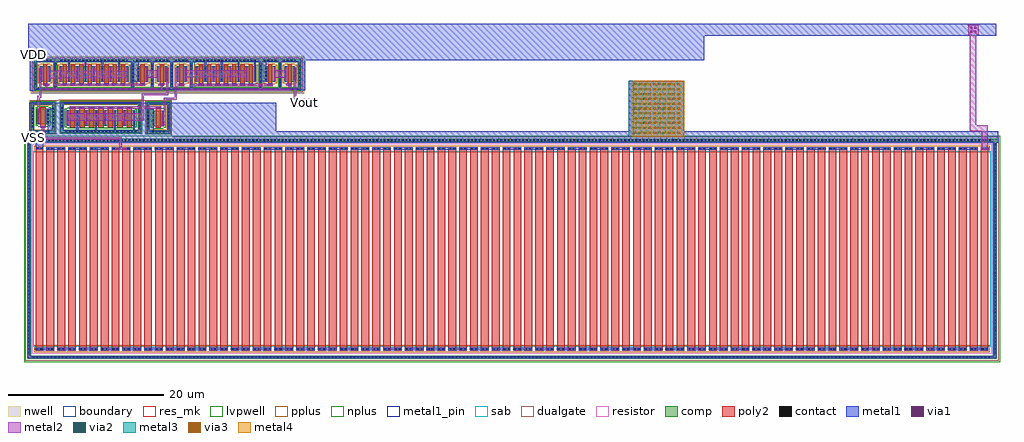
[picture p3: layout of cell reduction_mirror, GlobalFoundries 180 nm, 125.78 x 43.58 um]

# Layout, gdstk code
import gdstk
lib = gdstk.Library(unit=1e-6, precision=1e-09)
def R(c, l, rs):  # rectangles x0, y0, x1, y1
    for r in rs: c.add(gdstk.rectangle(r[:2], r[2:], *l))
def A(c, l, x, y, w, h, nx, ny, dx, dy):  # array of equal rectangles
    R(c, l, [(x+i*dx, y+j*dy, x+i*dx+w, y+j*dy+h) for i in range(nx) for j in range(ny)])
boundary = (0, 0)
nwell = (21, 0)
comp = (22, 0)
poly2 = (30, 0)
pplus = (31, 0)
nplus = (32, 0)
contact = (33, 0)
metal1 = (34, 0)
metal1_pin = (34, 10)
via1 = (35, 0)
metal2 = (36, 0)
via2 = (38, 0)
via3 = (40, 0)
metal3 = (42, 0)
metal4 = (46, 0)
sab = (49, 0)
dualgate = (55, 0)
resistor = (62, 0)
res_mk = (110, 5)
lvpwell = (204, 0)

nmos_6p0_bjxxpt = lib.new_cell('nmos_6p0_BJXXPT')
R(nmos_6p0_bjxxpt, boundary, [(-4.99,-1.82,4.99,1.82)])
R(nmos_6p0_bjxxpt, comp, [(-5.17,-2,5.17,-1.64), (-5.17,-1.64,-4.81,1.64), (4.81,-1.64,5.17,1.64), (-4.45,-1.12,4.45,0.88), (-5.17,1.64,5.17,2)])
A(nmos_6p0_bjxxpt, poly2, -4.01, -1.34, 0.7, 2.68, 7, 1, 1.22, 0)
R(nmos_6p0_bjxxpt, pplus, [(-5.2,-2.03,5.2,-1.61), (-5.2,-1.61,-4.78,1.61), (4.78,-1.61,5.2,1.61), (-5.2,1.61,5.2,2.03)])
R(nmos_6p0_bjxxpt, nplus, [(-4.31,-1.42,4.31,-1.3), (-4.63,-1.3,4.63,1.06), (-4.31,1.06,4.31,1.18)])
A(nmos_6p0_bjxxpt, contact, -4.575, -1.93, 0.22, 0.22, 20, 1, 0.47, 0)
A(nmos_6p0_bjxxpt, contact, -5.1, -1.285, 0.22, 0.22, 1, 6, 0, 0.47)
A(nmos_6p0_bjxxpt, contact, 4.88, -1.285, 0.22, 0.22, 1, 6, 0, 0.47)
A(nmos_6p0_bjxxpt, contact, -4.38, -0.935, 0.22, 0.22, 8, 4, 1.22, 0.47)
A(nmos_6p0_bjxxpt, contact, -3.77, 1.05, 0.22, 0.22, 7, 1, 1.22, 0)
A(nmos_6p0_bjxxpt, metal1, -4.385, -1.11, 0.23, 1.98, 8, 1, 1.22, 0)
A(nmos_6p0_bjxxpt, metal1, -4, 1.045, 0.68, 0.23, 7, 1, 1.22, 0)
R(nmos_6p0_bjxxpt, metal1, [(-5.105,-1.935,5.105,-1.705), (-5.105,-1.705,-4.875,1.705), (4.875,-1.705,5.105,1.705), (-5.105,1.705,5.105,1.935)])
R(nmos_6p0_bjxxpt, dualgate, [(-5.41,-2.24,5.41,2.24)])
R(nmos_6p0_bjxxpt, lvpwell, [(-5.33,-2.16,5.33,2.16)])

nmos_6p0_b4tb5u = lib.new_cell('nmos_6p0_B4TB5U')
R(nmos_6p0_b4tb5u, boundary, [(-1.33,-1.82,1.33,1.82)])
R(nmos_6p0_b4tb5u, comp, [(-1.51,-2,1.51,-1.64), (-1.51,-1.64,-1.15,1.64), (1.15,-1.64,1.51,1.64), (-0.79,-0.88,0.79,1.12), (-1.51,1.64,1.51,2)])
R(nmos_6p0_b4tb5u, poly2, [(-0.35,-1.34,0.35,1.34)])
R(nmos_6p0_b4tb5u, pplus, [(-1.54,-2.03,1.54,-1.61), (-1.54,-1.61,-1.12,1.61), (1.12,-1.61,1.54,1.61), (-1.54,1.61,1.54,2.03)])
R(nmos_6p0_b4tb5u, nplus, [(-0.65,-1.18,0.65,-1.06), (-0.97,-1.06,0.97,1.3), (-0.65,1.3,0.65,1.42)])
A(nmos_6p0_b4tb5u, contact, -0.815, -1.93, 0.22, 0.22, 4, 1, 0.47, 0)
A(nmos_6p0_b4tb5u, contact, -1.44, -1.285, 0.22, 0.22, 1, 6, 0, 0.47)
A(nmos_6p0_b4tb5u, contact, 1.22, -1.285, 0.22, 0.22, 1, 6, 0, 0.47)
A(nmos_6p0_b4tb5u, contact, -0.72, -0.695, 0.22, 0.22, 1, 4, 0, 0.47)
A(nmos_6p0_b4tb5u, contact, 0.5, -0.695, 0.22, 0.22, 1, 4, 0, 0.47)
R(nmos_6p0_b4tb5u, contact, [(-0.11,-1.27,0.11,-1.05)])
R(nmos_6p0_b4tb5u, metal1, [(-1.445,-1.935,1.445,-1.705), (-1.445,-1.705,-1.215,1.705), (1.215,-1.705,1.445,1.705), (-0.34,-1.275,0.34,-1.045), (-0.725,-0.87,-0.495,1.11), (0.495,-0.87,0.725,1.11), (-1.445,1.705,1.445,1.935)])
R(nmos_6p0_b4tb5u, dualgate, [(-1.75,-2.24,1.75,2.24)])
R(nmos_6p0_b4tb5u, lvpwell, [(-1.67,-2.16,1.67,2.16)])

nmos_6p0_bjpb5u = lib.new_cell('nmos_6p0_BJPB5U')
R(nmos_6p0_bjpb5u, boundary, [(-1.33,-1.82,1.33,1.82)])
R(nmos_6p0_bjpb5u, comp, [(-1.51,-2,1.51,-1.64), (-1.51,-1.64,-1.15,1.64), (1.15,-1.64,1.51,1.64), (-0.79,-1.12,0.79,0.88), (-1.51,1.64,1.51,2)])
R(nmos_6p0_bjpb5u, poly2, [(-0.35,-1.34,0.35,1.34)])
R(nmos_6p0_bjpb5u, pplus, [(-1.54,-2.03,1.54,-1.61), (-1.54,-1.61,-1.12,1.61), (1.12,-1.61,1.54,1.61), (-1.54,1.61,1.54,2.03)])
R(nmos_6p0_bjpb5u, nplus, [(-0.65,-1.42,0.65,-1.3), (-0.97,-1.3,0.97,1.06), (-0.65,1.06,0.65,1.18)])
A(nmos_6p0_bjpb5u, contact, -0.815, -1.93, 0.22, 0.22, 4, 1, 0.47, 0)
A(nmos_6p0_bjpb5u, contact, -1.44, -1.285, 0.22, 0.22, 1, 6, 0, 0.47)
A(nmos_6p0_bjpb5u, contact, 1.22, -1.285, 0.22, 0.22, 1, 6, 0, 0.47)
A(nmos_6p0_bjpb5u, contact, -0.72, -0.935, 0.22, 0.22, 1, 4, 0, 0.47)
A(nmos_6p0_bjpb5u, contact, 0.5, -0.935, 0.22, 0.22, 1, 4, 0, 0.47)
R(nmos_6p0_bjpb5u, contact, [(-0.11,1.05,0.11,1.27)])
R(nmos_6p0_bjpb5u, metal1, [(-1.445,-1.935,1.445,-1.705), (-1.445,-1.705,-1.215,1.705), (1.215,-1.705,1.445,1.705), (-0.725,-1.11,-0.495,0.87), (0.495,-1.11,0.725,0.87), (-0.34,1.045,0.34,1.275), (-1.445,1.705,1.445,1.935)])
R(nmos_6p0_bjpb5u, dualgate, [(-1.75,-2.24,1.75,2.24)])
R(nmos_6p0_bjpb5u, lvpwell, [(-1.67,-2.16,1.67,2.16)])

via_cont_0p6um = lib.new_cell('via_cont_0p6um')
R(via_cont_0p6um, metal1, [(-0.205,-1.06,0.485,-0.8)])
R(via_cont_0p6um, via1, [(0.01,-1.06,0.27,-0.8)])
R(via_cont_0p6um, metal2, [(-0.215,-1.07,0.495,-0.79)])

via_cont_2um = lib.new_cell('via_cont_2um')
R(via_cont_2um, metal1, [(-0.45,-0.495,-0.19,1.2)])
A(via_cont_2um, via1, -0.45, -0.3, 0.26, 0.26, 1, 3, 0, 0.52)
R(via_cont_2um, metal2, [(-0.46,-0.495,-0.18,1.195)])

pmos_6p0_cyeqn4 = lib.new_cell('pmos_6p0_CYEQN4')
R(pmos_6p0_cyeqn4, boundary, [(-1.23,-1.82,1.23,1.82)])
R(pmos_6p0_cyeqn4, nwell, [(-1.84,-2.43,1.89,2.43)])
R(pmos_6p0_cyeqn4, comp, [(-1.41,-2,1.46,-1.64), (-1.41,-1.64,-1.05,1.64), (1.1,-1.64,1.46,1.64), (-0.69,-0.88,0.74,1.12), (-1.41,1.64,1.46,2)])
R(pmos_6p0_cyeqn4, poly2, [(-0.25,-1.34,0.3,1.34)])
R(pmos_6p0_cyeqn4, pplus, [(-0.55,-1.18,0.6,-1.06), (-0.87,-1.06,0.92,1.3), (-0.55,1.3,0.6,1.42)])
R(pmos_6p0_cyeqn4, nplus, [(-1.44,-2.03,1.49,-1.61), (-1.44,-1.61,-1.02,1.61), (1.07,-1.61,1.49,1.61), (-1.44,1.61,1.49,2.03)])
A(pmos_6p0_cyeqn4, contact, -1.34, -1.285, 0.22, 0.22, 1, 6, 0, 0.47)
A(pmos_6p0_cyeqn4, contact, 1.17, -1.285, 0.22, 0.22, 1, 6, 0, 0.47)
A(pmos_6p0_cyeqn4, contact, -0.62, -0.695, 0.22, 0.22, 1, 4, 0, 0.47)
A(pmos_6p0_cyeqn4, contact, 0.45, -0.695, 0.22, 0.22, 1, 4, 0, 0.47)
A(pmos_6p0_cyeqn4, contact, -0.815, 1.71, 0.22, 0.22, 4, 1, 0.47, 0)
R(pmos_6p0_cyeqn4, contact, [(-0.085,-1.27,0.135,-1.05)])
R(pmos_6p0_cyeqn4, metal1, [(-1.345,-1.935,1.395,-1.705), (-1.345,-1.705,-1.115,1.705), (1.165,-1.705,1.395,1.705), (-0.24,-1.275,0.29,-1.045), (-0.625,-0.87,-0.395,1.11), (0.445,-0.87,0.675,1.11), (-1.345,1.705,1.395,1.935)])
R(pmos_6p0_cyeqn4, dualgate, [(-1.65,-2.24,1.7,2.24)])

pmos_6p0_hueqqm = lib.new_cell('pmos_6p0_HUEQQM')
R(pmos_6p0_hueqqm, boundary, [(-4.8,-1.82,4.8,1.82)])
R(pmos_6p0_hueqqm, nwell, [(-5.64,-2.43,5.605,2.43)])
R(pmos_6p0_hueqqm, comp, [(-5.21,-2,5.175,-1.64), (-5.21,-1.64,-4.85,1.64), (4.815,-1.64,5.175,1.64), (-4.49,-0.88,4.455,1.12), (-5.21,1.64,5.175,2)])
A(pmos_6p0_hueqqm, poly2, -4.05, -1.34, 0.55, 2.68, 4, 1, 1.07, 0)
A(pmos_6p0_hueqqm, poly2, 0.255, -1.34, 0.55, 2.68, 4, 1, 1.07, 0)
R(pmos_6p0_hueqqm, pplus, [(-4.35,-1.18,4.315,-1.06), (-4.67,-1.06,4.635,1.3), (-4.35,1.3,4.315,1.42)])
R(pmos_6p0_hueqqm, nplus, [(-5.24,-2.03,5.205,-1.61), (-5.24,-1.61,-4.82,1.61), (4.785,-1.61,5.205,1.61), (-5.24,1.61,5.205,2.03)])
A(pmos_6p0_hueqqm, contact, -5.14, -1.285, 0.22, 0.22, 1, 6, 0, 0.47)
A(pmos_6p0_hueqqm, contact, 4.885, -1.285, 0.22, 0.22, 1, 6, 0, 0.47)
A(pmos_6p0_hueqqm, contact, -3.885, -1.27, 0.22, 0.22, 4, 1, 1.07, 0)
A(pmos_6p0_hueqqm, contact, 0.42, -1.27, 0.22, 0.22, 4, 1, 1.07, 0)
A(pmos_6p0_hueqqm, contact, -4.42, -0.695, 0.22, 0.22, 5, 4, 1.07, 0.47)
A(pmos_6p0_hueqqm, contact, 0.955, -0.695, 0.22, 0.22, 4, 4, 1.07, 0.47)
A(pmos_6p0_hueqqm, contact, -4.34, 1.71, 0.22, 0.22, 19, 1, 0.47, 0)
A(pmos_6p0_hueqqm, metal1, -4.04, -1.275, 0.53, 0.23, 4, 1, 1.07, 0)
A(pmos_6p0_hueqqm, metal1, 0.265, -1.275, 0.53, 0.23, 4, 1, 1.07, 0)
A(pmos_6p0_hueqqm, metal1, -4.425, -0.87, 0.23, 1.98, 5, 1, 1.07, 0)
A(pmos_6p0_hueqqm, metal1, 0.95, -0.87, 0.23, 1.98, 4, 1, 1.07, 0)
R(pmos_6p0_hueqqm, metal1, [(-5.145,-1.935,5.11,-1.705), (-5.145,-1.705,-4.915,1.705), (4.88,-1.705,5.11,1.705), (-5.145,1.705,5.11,1.935)])
R(pmos_6p0_hueqqm, dualgate, [(-5.45,-2.24,5.415,2.24)])

pmos_6p0_eyeqqm = lib.new_cell('pmos_6p0_EYEQQM')
R(pmos_6p0_eyeqqm, boundary, [(-4.29,-1.82,4.29,1.82)])
R(pmos_6p0_eyeqqm, nwell, [(-5.25,-2.43,4.9,2.43)])
R(pmos_6p0_eyeqqm, comp, [(-4.82,-2,4.47,-1.64), (-4.82,-1.64,-4.46,1.64), (4.11,-1.64,4.47,1.64), (-4.1,-0.88,3.75,1.12), (-4.82,1.64,4.47,2)])
A(pmos_6p0_eyeqqm, poly2, -3.66, -1.34, 0.55, 2.68, 7, 1, 1.07, 0)
R(pmos_6p0_eyeqqm, pplus, [(-3.96,-1.18,3.61,-1.06), (-4.28,-1.06,3.93,1.3), (-3.96,1.3,3.61,1.42)])
R(pmos_6p0_eyeqqm, nplus, [(-4.85,-2.03,4.5,-1.61), (-4.85,-1.61,-4.43,1.61), (4.08,-1.61,4.5,1.61), (-4.85,1.61,4.5,2.03)])
A(pmos_6p0_eyeqqm, contact, -4.75, -1.285, 0.22, 0.22, 1, 6, 0, 0.47)
A(pmos_6p0_eyeqqm, contact, 4.18, -1.285, 0.22, 0.22, 1, 6, 0, 0.47)
A(pmos_6p0_eyeqqm, contact, -3.495, -1.27, 0.22, 0.22, 7, 1, 1.07, 0)
A(pmos_6p0_eyeqqm, contact, -4.03, -0.695, 0.22, 0.22, 8, 4, 1.07, 0.47)
A(pmos_6p0_eyeqqm, contact, -4.045, 1.71, 0.22, 0.22, 17, 1, 0.47, 0)
A(pmos_6p0_eyeqqm, metal1, -3.65, -1.275, 0.53, 0.23, 7, 1, 1.07, 0)
A(pmos_6p0_eyeqqm, metal1, -4.035, -0.87, 0.23, 1.98, 8, 1, 1.07, 0)
R(pmos_6p0_eyeqqm, metal1, [(-4.755,-1.935,4.405,-1.705), (-4.755,-1.705,-4.525,1.705), (4.175,-1.705,4.405,1.705), (-4.755,1.705,4.405,1.935)])
R(pmos_6p0_eyeqqm, dualgate, [(-5.06,-2.24,4.71,2.24)])

ppolyf_u_1k_6p0_trtt7c = lib.new_cell('ppolyf_u_1k_6p0_TRTT7C')
R(ppolyf_u_1k_6p0_trtt7c, boundary, [(-62.02,-13.92,62.02,13.92)])
R(ppolyf_u_1k_6p0_trtt7c, comp, [(-62.46,-14.17,62.46,-13.81), (-62.46,-13.81,-62.1,13.81), (62.1,-13.81,62.46,13.81), (-62.46,13.81,62.46,14.17)])
A(ppolyf_u_1k_6p0_trtt7c, poly2, -61.4, -13.11, 1, 26.22, 88, 1, 1.4, 0)
R(ppolyf_u_1k_6p0_trtt7c, pplus, [(-62.49,-14.2,62.49,-13.78), (-62.49,-13.78,-62.07,13.78), (62.07,-13.78,62.49,13.78), (-61.6,-13.31,61.6,-12.5), (-61.6,12.5,61.6,13.31), (-62.49,13.78,62.49,14.2)])
A(ppolyf_u_1k_6p0_trtt7c, contact, -61.79, -14.1, 0.22, 0.22, 263, 1, 0.47, 0)
A(ppolyf_u_1k_6p0_trtt7c, contact, -62.39, -13.505, 0.22, 0.22, 1, 58, 0, 0.47)
A(ppolyf_u_1k_6p0_trtt7c, contact, 62.17, -13.505, 0.22, 0.22, 1, 58, 0, 0.47)
A(ppolyf_u_1k_6p0_trtt7c, contact, -61.655, 13.88, 0.22, 0.22, 263, 1, 0.47, 0)
R(ppolyf_u_1k_6p0_trtt7c, contact, [(-61.245,-13.04,-61.025,-12.82), (-60.775,-13.04,-60.555,-12.82), (-59.845,-13.04,-59.625,-12.82), (-59.375,-13.04,-59.155,-12.82), (-58.445,-13.04,-58.225,-12.82), (-57.975,-13.04,-57.755,-12.82), (-57.045,-13.04,-56.825,-12.82), (-56.575,-13.04,-56.355,-12.82), (-55.645,-13.04,-55.425,-12.82), (-55.175,-13.04,-54.955,-12.82), (-54.245,-13.04,-54.025,-12.82), (-53.775,-13.04,-53.555,-12.82), (-52.845,-13.04,-52.625,-12.82), (-52.375,-13.04,-52.155,-12.82), (-51.445,-13.04,-51.225,-12.82), (-50.975,-13.04,-50.755,-12.82), (-50.045,-13.04,-49.825,-12.82), (-49.575,-13.04,-49.355,-12.82), (-48.645,-13.04,-48.425,-12.82), (-48.175,-13.04,-47.955,-12.82), (-47.245,-13.04,-47.025,-12.82), (-46.775,-13.04,-46.555,-12.82), (-45.845,-13.04,-45.625,-12.82), (-45.375,-13.04,-45.155,-12.82), (-44.445,-13.04,-44.225,-12.82), (-43.975,-13.04,-43.755,-12.82), (-43.045,-13.04,-42.825,-12.82), (-42.575,-13.04,-42.355,-12.82), (-41.645,-13.04,-41.425,-12.82), (-41.175,-13.04,-40.955,-12.82), (-40.245,-13.04,-40.025,-12.82), (-39.775,-13.04,-39.555,-12.82), (-38.845,-13.04,-38.625,-12.82), (-38.375,-13.04,-38.155,-12.82), (-37.445,-13.04,-37.225,-12.82), (-36.975,-13.04,-36.755,-12.82), (-36.045,-13.04,-35.825,-12.82), (-35.575,-13.04,-35.355,-12.82), (-34.645,-13.04,-34.425,-12.82), (-34.175,-13.04,-33.955,-12.82), (-33.245,-13.04,-33.025,-12.82), (-32.775,-13.04,-32.555,-12.82), (-31.845,-13.04,-31.625,-12.82), (-31.375,-13.04,-31.155,-12.82), (-30.445,-13.04,-30.225,-12.82), (-29.975,-13.04,-29.755,-12.82), (-29.045,-13.04,-28.825,-12.82), (-28.575,-13.04,-28.355,-12.82), (-27.645,-13.04,-27.425,-12.82), (-27.175,-13.04,-26.955,-12.82), (-26.245,-13.04,-26.025,-12.82), (-25.775,-13.04,-25.555,-12.82), (-24.845,-13.04,-24.625,-12.82), (-24.375,-13.04,-24.155,-12.82), (-23.445,-13.04,-23.225,-12.82), (-22.975,-13.04,-22.755,-12.82), (-22.045,-13.04,-21.825,-12.82), (-21.575,-13.04,-21.355,-12.82), (-20.645,-13.04,-20.425,-12.82), (-20.175,-13.04,-19.955,-12.82), (-19.245,-13.04,-19.025,-12.82), (-18.775,-13.04,-18.555,-12.82), (-17.845,-13.04,-17.625,-12.82), (-17.375,-13.04,-17.155,-12.82), (-16.445,-13.04,-16.225,-12.82), (-15.975,-13.04,-15.755,-12.82), (-15.045,-13.04,-14.825,-12.82), (-14.575,-13.04,-14.355,-12.82), (-13.645,-13.04,-13.425,-12.82), (-13.175,-13.04,-12.955,-12.82), (-12.245,-13.04,-12.025,-12.82), (-11.775,-13.04,-11.555,-12.82), (-10.845,-13.04,-10.625,-12.82), (-10.375,-13.04,-10.155,-12.82), (-9.445,-13.04,-9.225,-12.82), (-8.975,-13.04,-8.755,-12.82), (-8.045,-13.04,-7.825,-12.82), (-7.575,-13.04,-7.355,-12.82), (-6.645,-13.04,-6.425,-12.82), (-6.175,-13.04,-5.955,-12.82), (-5.245,-13.04,-5.025,-12.82), (-4.775,-13.04,-4.555,-12.82), (-3.845,-13.04,-3.625,-12.82), (-3.375,-13.04,-3.155,-12.82), (-2.445,-13.04,-2.225,-12.82), (-1.975,-13.04,-1.755,-12.82), (-1.045,-13.04,-0.825,-12.82), (-0.575,-13.04,-0.355,-12.82), (0.355,-13.04,0.575,-12.82), (0.825,-13.04,1.045,-12.82), (1.755,-13.04,1.975,-12.82), (2.225,-13.04,2.445,-12.82), (3.155,-13.04,3.375,-12.82), (3.625,-13.04,3.845,-12.82), (4.555,-13.04,4.775,-12.82), (5.025,-13.04,5.245,-12.82), (5.955,-13.04,6.175,-12.82), (6.425,-13.04,6.645,-12.82), (7.355,-13.04,7.575,-12.82), (7.825,-13.04,8.045,-12.82), (8.755,-13.04,8.975,-12.82), (9.225,-13.04,9.445,-12.82), (10.155,-13.04,10.375,-12.82), (10.625,-13.04,10.845,-12.82), (11.555,-13.04,11.775,-12.82), (12.025,-13.04,12.245,-12.82), (12.955,-13.04,13.175,-12.82), (13.425,-13.04,13.645,-12.82), (14.355,-13.04,14.575,-12.82), (14.825,-13.04,15.045,-12.82), (15.755,-13.04,15.975,-12.82), (16.225,-13.04,16.445,-12.82), (17.155,-13.04,17.375,-12.82), (17.625,-13.04,17.845,-12.82), (18.555,-13.04,18.775,-12.82), (19.025,-13.04,19.245,-12.82), (19.955,-13.04,20.175,-12.82), (20.425,-13.04,20.645,-12.82), (21.355,-13.04,21.575,-12.82), (21.825,-13.04,22.045,-12.82), (22.755,-13.04,22.975,-12.82), (23.225,-13.04,23.445,-12.82), (24.155,-13.04,24.375,-12.82), (24.625,-13.04,24.845,-12.82), (25.555,-13.04,25.775,-12.82), (26.025,-13.04,26.245,-12.82), (26.955,-13.04,27.175,-12.82), (27.425,-13.04,27.645,-12.82), (28.355,-13.04,28.575,-12.82), (28.825,-13.04,29.045,-12.82), (29.755,-13.04,29.975,-12.82), (30.225,-13.04,30.445,-12.82), (31.155,-13.04,31.375,-12.82), (31.625,-13.04,31.845,-12.82), (32.555,-13.04,32.775,-12.82), (33.025,-13.04,33.245,-12.82), (33.955,-13.04,34.175,-12.82), (34.425,-13.04,34.645,-12.82), (35.355,-13.04,35.575,-12.82), (35.825,-13.04,36.045,-12.82), (36.755,-13.04,36.975,-12.82), (37.225,-13.04,37.445,-12.82), (38.155,-13.04,38.375,-12.82), (38.625,-13.04,38.845,-12.82), (39.555,-13.04,39.775,-12.82), (40.025,-13.04,40.245,-12.82), (40.955,-13.04,41.175,-12.82), (41.425,-13.04,41.645,-12.82), (42.355,-13.04,42.575,-12.82), (42.825,-13.04,43.045,-12.82), (43.755,-13.04,43.975,-12.82), (44.225,-13.04,44.445,-12.82), (45.155,-13.04,45.375,-12.82), (45.625,-13.04,45.845,-12.82), (46.555,-13.04,46.775,-12.82), (47.025,-13.04,47.245,-12.82), (47.955,-13.04,48.175,-12.82), (48.425,-13.04,48.645,-12.82), (49.355,-13.04,49.575,-12.82), (49.825,-13.04,50.045,-12.82), (50.755,-13.04,50.975,-12.82), (51.225,-13.04,51.445,-12.82), (52.155,-13.04,52.375,-12.82), (52.625,-13.04,52.845,-12.82), (53.555,-13.04,53.775,-12.82), (54.025,-13.04,54.245,-12.82), (54.955,-13.04,55.175,-12.82), (55.425,-13.04,55.645,-12.82), (56.355,-13.04,56.575,-12.82), (56.825,-13.04,57.045,-12.82), (57.755,-13.04,57.975,-12.82), (58.225,-13.04,58.445,-12.82), (59.155,-13.04,59.375,-12.82), (59.625,-13.04,59.845,-12.82), (60.555,-13.04,60.775,-12.82), (61.025,-13.04,61.245,-12.82), (-61.245,12.82,-61.025,13.04), (-60.775,12.82,-60.555,13.04), (-59.845,12.82,-59.625,13.04), (-59.375,12.82,-59.155,13.04), (-58.445,12.82,-58.225,13.04), (-57.975,12.82,-57.755,13.04), (-57.045,12.82,-56.825,13.04), (-56.575,12.82,-56.355,13.04), (-55.645,12.82,-55.425,13.04), (-55.175,12.82,-54.955,13.04), (-54.245,12.82,-54.025,13.04), (-53.775,12.82,-53.555,13.04), (-52.845,12.82,-52.625,13.04), (-52.375,12.82,-52.155,13.04), (-51.445,12.82,-51.225,13.04), (-50.975,12.82,-50.755,13.04), (-50.045,12.82,-49.825,13.04), (-49.575,12.82,-49.355,13.04), (-48.645,12.82,-48.425,13.04), (-48.175,12.82,-47.955,13.04), (-47.245,12.82,-47.025,13.04), (-46.775,12.82,-46.555,13.04), (-45.845,12.82,-45.625,13.04), (-45.375,12.82,-45.155,13.04), (-44.445,12.82,-44.225,13.04), (-43.975,12.82,-43.755,13.04), (-43.045,12.82,-42.825,13.04), (-42.575,12.82,-42.355,13.04), (-41.645,12.82,-41.425,13.04), (-41.175,12.82,-40.955,13.04), (-40.245,12.82,-40.025,13.04), (-39.775,12.82,-39.555,13.04), (-38.845,12.82,-38.625,13.04), (-38.375,12.82,-38.155,13.04), (-37.445,12.82,-37.225,13.04), (-36.975,12.82,-36.755,13.04), (-36.045,12.82,-35.825,13.04), (-35.575,12.82,-35.355,13.04), (-34.645,12.82,-34.425,13.04), (-34.175,12.82,-33.955,13.04), (-33.245,12.82,-33.025,13.04), (-32.775,12.82,-32.555,13.04), (-31.845,12.82,-31.625,13.04), (-31.375,12.82,-31.155,13.04), (-30.445,12.82,-30.225,13.04), (-29.975,12.82,-29.755,13.04), (-29.045,12.82,-28.825,13.04), (-28.575,12.82,-28.355,13.04), (-27.645,12.82,-27.425,13.04), (-27.175,12.82,-26.955,13.04), (-26.245,12.82,-26.025,13.04), (-25.775,12.82,-25.555,13.04), (-24.845,12.82,-24.625,13.04), (-24.375,12.82,-24.155,13.04), (-23.445,12.82,-23.225,13.04), (-22.975,12.82,-22.755,13.04), (-22.045,12.82,-21.825,13.04), (-21.575,12.82,-21.355,13.04), (-20.645,12.82,-20.425,13.04), (-20.175,12.82,-19.955,13.04), (-19.245,12.82,-19.025,13.04), (-18.775,12.82,-18.555,13.04), (-17.845,12.82,-17.625,13.04), (-17.375,12.82,-17.155,13.04), (-16.445,12.82,-16.225,13.04), (-15.975,12.82,-15.755,13.04), (-15.045,12.82,-14.825,13.04), (-14.575,12.82,-14.355,13.04), (-13.645,12.82,-13.425,13.04), (-13.175,12.82,-12.955,13.04), (-12.245,12.82,-12.025,13.04), (-11.775,12.82,-11.555,13.04), (-10.845,12.82,-10.625,13.04), (-10.375,12.82,-10.155,13.04), (-9.445,12.82,-9.225,13.04), (-8.975,12.82,-8.755,13.04), (-8.045,12.82,-7.825,13.04), (-7.575,12.82,-7.355,13.04), (-6.645,12.82,-6.425,13.04), (-6.175,12.82,-5.955,13.04), (-5.245,12.82,-5.025,13.04), (-4.775,12.82,-4.555,13.04), (-3.845,12.82,-3.625,13.04), (-3.375,12.82,-3.155,13.04), (-2.445,12.82,-2.225,13.04), (-1.975,12.82,-1.755,13.04), (-1.045,12.82,-0.825,13.04), (-0.575,12.82,-0.355,13.04), (0.355,12.82,0.575,13.04), (0.825,12.82,1.045,13.04), (1.755,12.82,1.975,13.04), (2.225,12.82,2.445,13.04), (3.155,12.82,3.375,13.04), (3.625,12.82,3.845,13.04), (4.555,12.82,4.775,13.04), (5.025,12.82,5.245,13.04), (5.955,12.82,6.175,13.04), (6.425,12.82,6.645,13.04), (7.355,12.82,7.575,13.04), (7.825,12.82,8.045,13.04), (8.755,12.82,8.975,13.04), (9.225,12.82,9.445,13.04), (10.155,12.82,10.375,13.04), (10.625,12.82,10.845,13.04), (11.555,12.82,11.775,13.04), (12.025,12.82,12.245,13.04), (12.955,12.82,13.175,13.04), (13.425,12.82,13.645,13.04), (14.355,12.82,14.575,13.04), (14.825,12.82,15.045,13.04), (15.755,12.82,15.975,13.04), (16.225,12.82,16.445,13.04), (17.155,12.82,17.375,13.04), (17.625,12.82,17.845,13.04), (18.555,12.82,18.775,13.04), (19.025,12.82,19.245,13.04), (19.955,12.82,20.175,13.04), (20.425,12.82,20.645,13.04), (21.355,12.82,21.575,13.04), (21.825,12.82,22.045,13.04), (22.755,12.82,22.975,13.04), (23.225,12.82,23.445,13.04), (24.155,12.82,24.375,13.04), (24.625,12.82,24.845,13.04), (25.555,12.82,25.775,13.04), (26.025,12.82,26.245,13.04), (26.955,12.82,27.175,13.04), (27.425,12.82,27.645,13.04), (28.355,12.82,28.575,13.04), (28.825,12.82,29.045,13.04), (29.755,12.82,29.975,13.04), (30.225,12.82,30.445,13.04), (31.155,12.82,31.375,13.04), (31.625,12.82,31.845,13.04), (32.555,12.82,32.775,13.04), (33.025,12.82,33.245,13.04), (33.955,12.82,34.175,13.04), (34.425,12.82,34.645,13.04), (35.355,12.82,35.575,13.04), (35.825,12.82,36.045,13.04), (36.755,12.82,36.975,13.04), (37.225,12.82,37.445,13.04), (38.155,12.82,38.375,13.04), (38.625,12.82,38.845,13.04), (39.555,12.82,39.775,13.04), (40.025,12.82,40.245,13.04), (40.955,12.82,41.175,13.04), (41.425,12.82,41.645,13.04), (42.355,12.82,42.575,13.04), (42.825,12.82,43.045,13.04), (43.755,12.82,43.975,13.04), (44.225,12.82,44.445,13.04), (45.155,12.82,45.375,13.04), (45.625,12.82,45.845,13.04), (46.555,12.82,46.775,13.04), (47.025,12.82,47.245,13.04), (47.955,12.82,48.175,13.04), (48.425,12.82,48.645,13.04), (49.355,12.82,49.575,13.04), (49.825,12.82,50.045,13.04), (50.755,12.82,50.975,13.04), (51.225,12.82,51.445,13.04), (52.155,12.82,52.375,13.04), (52.625,12.82,52.845,13.04), (53.555,12.82,53.775,13.04), (54.025,12.82,54.245,13.04), (54.955,12.82,55.175,13.04), (55.425,12.82,55.645,13.04), (56.355,12.82,56.575,13.04), (56.825,12.82,57.045,13.04), (57.755,12.82,57.975,13.04), (58.225,12.82,58.445,13.04), (59.155,12.82,59.375,13.04), (59.625,12.82,59.845,13.04), (60.555,12.82,60.775,13.04), (61.025,12.82,61.245,13.04)])
A(ppolyf_u_1k_6p0_trtt7c, metal1, -61.39, -13.045, 0.98, 0.23, 88, 2, 1.4, 25.86)
R(ppolyf_u_1k_6p0_trtt7c, metal1, [(-62.395,-14.105,62.395,-13.875), (-62.395,-13.875,-62.165,13.875), (62.165,-13.875,62.395,13.875), (-62.395,13.875,62.395,14.105)])
R(ppolyf_u_1k_6p0_trtt7c, sab, [(-61.68,-12.6,61.68,12.6), (-61.62,-12.5,61.62,12.5)])
R(ppolyf_u_1k_6p0_trtt7c, dualgate, [(-62.7,-14.41,62.7,14.41)])
R(ppolyf_u_1k_6p0_trtt7c, resistor, [(-61.8,-13.51,61.8,13.51)])
A(ppolyf_u_1k_6p0_trtt7c, res_mk, -61.4, -12.5, 1, 25, 88, 1, 1.4, 0)
R(ppolyf_u_1k_6p0_trtt7c, res_mk, [(-61.68,-12.5,61.68,12.5)])
R(ppolyf_u_1k_6p0_trtt7c, lvpwell, [(-62.89,-14.6,62.89,14.6)])

reduction_mirror = lib.new_cell('reduction_mirror')
R(reduction_mirror, nwell, [(35,3.035,35.28,6.35)])
A(reduction_mirror, metal1, 2.775, -30.005, 2.415, 0.315, 44, 1, 2.8, 0)
A(reduction_mirror, metal1, 4.185, -4.18, 2.415, 0.315, 43, 1, 2.8, 0)
R(reduction_mirror, metal1, [(124.585,-4.165,125.62,-3.86), (2.81,-4.125,3.79,-3.285), (1.755,-3.285,126.865,-1.785), (1.965,-1.785,2.525,1.905), (4.355,-1.785,5.04,1.105), (5.09,-1.785,6.24,1.905), (8.035,-1.785,8.265,-0.865), (10.475,-1.785,10.705,-0.88), (12.915,-1.785,13.145,-0.855), (15.355,-1.785,15.585,-0.855), (16.19,-1.785,18.005,1.085), (19.885,-1.785,33.805,1.905), (79.225,-1.785,86.385,4.74), (16.19,1.085,17.34,1.905), (35.93,1.365,37.9,2.365), (2.045,3.4,2.78,7.39), (36.805,3.52,37.54,7.39), (15.32,4.615,16.09,7.39), (31.79,4.665,32.545,7.39), (9.125,6.545,9.355,7.39), (24.54,6.55,24.77,7.39), (28.82,6.55,29.05,7.39), (30.96,6.55,31.19,7.39), (11.29,6.555,11.52,7.39), (13.43,6.555,13.66,7.39), (26.68,6.555,26.91,7.39), (6.985,6.565,7.215,7.39), (1.87,7.39,88.95,10.54), (1.87,10.54,126.62,12.04)])
R(reduction_mirror, metal1_pin, [(2.02,-3.04,3.02,-2.04), (36.9,1.365,37.9,2.365), (2.06,7.635,3.06,8.635)])
A(reduction_mirror, via1, 79.835, -2.09, 0.26, 0.26, 10, 11, 0.62, 0.62)
R(reduction_mirror, via1, [(13.42,-4.155,13.68,-3.895), (13.94,-4.155,14.2,-3.895), (124.695,-4.15,124.955,-3.89), (125.215,-4.15,125.475,-3.89), (36.02,1.475,36.28,1.735), (36.54,1.475,36.8,1.735), (36.02,1.995,36.28,2.255), (36.54,1.995,36.8,2.255), (123.275,10.89,123.535,11.15), (123.795,10.89,124.055,11.15), (123.275,11.41,123.535,11.67), (123.795,11.41,124.055,11.67)])
R(reduction_mirror, metal2, [(13.12,-4.175,14.515,-3.865), (124.58,-4.17,125.615,-3.86), (13.59,-3.865,13.905,-2.865), (124.705,-3.86,125.5,-1.805), (3.62,-2.865,13.905,-2.55), (3.62,-2.55,3.935,-1.17), (79.225,-2.5,86.385,4.74), (123.205,-1.805,125.5,-1.01), (123.205,-1.01,124,10.635), (19.29,-0.975,19.58,2.245), (6.965,-0.43,16.705,-0.415), (6.965,-0.415,16.76,0.535), (16.48,0.535,16.76,1.11), (3.035,0.595,3.32,2.525), (7.185,1.11,18.98,1.45), (35.93,1.365,38.165,2.365), (16.48,1.45,16.76,2.83), (19.29,2.245,21.015,2.535), (36.1,2.365,36.39,6.36), (3.035,2.525,3.555,2.81), (20.725,2.535,21.015,3.405), (3.27,2.81,3.555,3.465), (16.48,2.83,19.91,3.11), (19.63,3.11,19.91,6.375), (20.725,3.405,35.745,3.695), (3.27,3.465,19.205,3.745), (20.725,3.695,21.015,4.03), (35.455,3.695,35.745,4.265), (3.27,3.745,3.555,6.335), (4.02,3.745,4.3,4.245), (18.925,3.745,19.205,4.125), (22.705,4.015,33.36,4.305), (20.725,4.03,21.35,4.31), (5.185,4.065,16.9,4.345), (22.705,4.305,23.01,5.135), (20.725,4.31,21.015,6.32), (5.185,4.345,5.465,5.02), (4.605,5.02,14.595,6.03), (17.16,5.085,18.58,6.085), (33.63,5.115,35.11,6.09), (22.165,5.135,29.985,6.04), (122.97,10.635,124.345,11.96)])
A(reduction_mirror, via2, 79.835, -2.09, 0.26, 0.26, 10, 11, 0.62, 0.62)
A(reduction_mirror, via3, 80.045, -2.09, 0.26, 0.26, 10, 11, 0.62, 0.62)
R(reduction_mirror, metal3, [(79.225,-2.5,86.385,4.74)])
R(reduction_mirror, metal4, [(79.775,-2.5,86.385,4.74)])
R(reduction_mirror, dualgate, [(2.02,-2.53,20.36,-2.26), (5.52,-2.26,16.86,-2.2), (5.52,-2.2,5.8,2.22), (16.62,-2.2,16.86,2.22)])
reduction_mirror.add(gdstk.Reference(nmos_6p0_bjxxpt, (11.21,0.04)))
reduction_mirror.add(gdstk.Reference(nmos_6p0_b4tb5u, (3.77,-0.02)))
reduction_mirror.add(gdstk.Reference(nmos_6p0_bjpb5u, (18.61,-0.02)))
reduction_mirror.add(gdstk.Reference(via_cont_0p6um, (3.62,-0.275)))
reduction_mirror.add(gdstk.Reference(via_cont_2um, (3.48,-0.23)))
reduction_mirror.add(gdstk.Reference(via_cont_2um, (7.25,-0.39)))
reduction_mirror.add(gdstk.Reference(via_cont_2um, (9.69,-0.41)))
reduction_mirror.add(gdstk.Reference(via_cont_2um, (12.115,-0.375)))
reduction_mirror.add(gdstk.Reference(via_cont_0p6um, (7.415,2.16)))
reduction_mirror.add(gdstk.Reference(via_cont_0p6um, (8.65,2.17)))
reduction_mirror.add(gdstk.Reference(via_cont_0p6um, (9.87,2.18)))
reduction_mirror.add(gdstk.Reference(via_cont_0p6um, (11.105,2.195)))
reduction_mirror.add(gdstk.Reference(via_cont_0p6um, (12.275,2.19)))
reduction_mirror.add(gdstk.Reference(via_cont_2um, (19.52,-0.55)))
reduction_mirror.add(gdstk.Reference(via_cont_2um, (14.58,-0.385)))
reduction_mirror.add(gdstk.Reference(via_cont_0p6um, (18.49,2.115)))
reduction_mirror.add(gdstk.Reference(via_cont_0p6um, (14.76,2.185)))
reduction_mirror.add(gdstk.Reference(via_cont_0p6um, (13.585,2.195)))
reduction_mirror.add(gdstk.Reference(pmos_6p0_cyeqn4, (4.03,5.465)))
reduction_mirror.add(gdstk.Reference(via_cont_0p6um, (4.07,5.15)))
reduction_mirror.add(gdstk.Reference(via_cont_0p6um, (6.35,5.13)))
reduction_mirror.add(gdstk.Reference(via_cont_2um, (3.83,5.175)))
reduction_mirror.add(gdstk.Reference(via_cont_2um, (4.86,5.175)))
reduction_mirror.add(gdstk.Reference(via_cont_2um, (6.315,5.175)))
reduction_mirror.add(gdstk.Reference(via_cont_0p6um, (7.43,5.125)))
reduction_mirror.add(gdstk.Reference(via_cont_0p6um, (8.48,5.125)))
reduction_mirror.add(gdstk.Reference(via_cont_0p6um, (9.55,5.14)))
reduction_mirror.add(gdstk.Reference(via_cont_0p6um, (10.68,5.135)))
reduction_mirror.add(gdstk.Reference(via_cont_0p6um, (11.74,5.14)))
reduction_mirror.add(gdstk.Reference(via_cont_2um, (8.49,5.17)))
reduction_mirror.add(gdstk.Reference(via_cont_2um, (10.635,5.18)))
reduction_mirror.add(gdstk.Reference(via_cont_2um, (12.815,5.205)))
reduction_mirror.add(gdstk.Reference(pmos_6p0_hueqqm, (10.34,5.465)))
reduction_mirror.add(gdstk.Reference(pmos_6p0_cyeqn4, (19.075,5.465)))
reduction_mirror.add(gdstk.Reference(pmos_6p0_cyeqn4, (16.565,5.465)))
reduction_mirror.add(gdstk.Reference(via_cont_0p6um, (12.805,5.155)))
reduction_mirror.add(gdstk.Reference(via_cont_0p6um, (13.89,5.15)))
reduction_mirror.add(gdstk.Reference(via_cont_0p6um, (16.415,5.145)))
reduction_mirror.add(gdstk.Reference(via_cont_2um, (14.935,5.165)))
reduction_mirror.add(gdstk.Reference(via_cont_2um, (17.465,5.205)))
reduction_mirror.add(gdstk.Reference(pmos_6p0_cyeqn4, (21.585,5.465)))
reduction_mirror.add(gdstk.Reference(via_cont_0p6um, (18.84,5.125)))
reduction_mirror.add(gdstk.Reference(via_cont_0p6um, (23.995,5.11)))
reduction_mirror.add(gdstk.Reference(via_cont_0p6um, (21.455,5.1)))
reduction_mirror.add(gdstk.Reference(via_cont_2um, (21.365,5.145)))
reduction_mirror.add(gdstk.Reference(via_cont_2um, (18.87,5.19)))
reduction_mirror.add(gdstk.Reference(via_cont_2um, (20.08,5.22)))
reduction_mirror.add(gdstk.Reference(via_cont_2um, (23.9,5.16)))
reduction_mirror.add(gdstk.Reference(via_cont_2um, (22.495,5.15)))
reduction_mirror.add(gdstk.Reference(pmos_6p0_eyeqqm, (27.505,5.465)))
reduction_mirror.add(gdstk.Reference(via_cont_0p6um, (25.08,5.095)))
reduction_mirror.add(gdstk.Reference(via_cont_0p6um, (26.145,5.085)))
reduction_mirror.add(gdstk.Reference(via_cont_0p6um, (27.185,5.11)))
reduction_mirror.add(gdstk.Reference(via_cont_2um, (26.055,5.175)))
reduction_mirror.add(gdstk.Reference(pmos_6p0_cyeqn4, (33.025,5.465)))
reduction_mirror.add(gdstk.Reference(via_cont_0p6um, (28.27,5.095)))
reduction_mirror.add(gdstk.Reference(via_cont_0p6um, (29.325,5.11)))
reduction_mirror.add(gdstk.Reference(via_cont_0p6um, (30.415,5.095)))
reduction_mirror.add(gdstk.Reference(via_cont_2um, (28.185,5.175)))
reduction_mirror.add(gdstk.Reference(via_cont_2um, (30.32,5.2)))
reduction_mirror.add(gdstk.Reference(pmos_6p0_cyeqn4, (35.535,5.465)))
reduction_mirror.add(gdstk.Reference(via_cont_0p6um, (32.86,5.095)))
reduction_mirror.add(gdstk.Reference(via_cont_2um, (35.35,5.19)))
reduction_mirror.add(gdstk.Reference(via_cont_2um, (33.92,5.29)))
reduction_mirror.add(gdstk.Reference(via_cont_2um, (36.44,5.19)))
reduction_mirror.add(gdstk.Reference(via_cont_0p6um, (35.315,5.16)))
reduction_mirror.add(gdstk.Reference(ppolyf_u_1k_6p0_trtt7c, (64.195,-16.94)))
reduction_mirror.add(gdstk.Label('VDD', (2.56,8.135), layer=34, texttype=10))
reduction_mirror.add(gdstk.Label('VSS', (2.52,-2.54), layer=34, texttype=10))
reduction_mirror.add(gdstk.Label('Vout', (37.4,1.865), layer=34, texttype=10))

lib.write_gds('reduction_mirror.gds')
